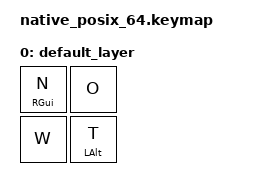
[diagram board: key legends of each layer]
#include <dt-bindings/zmk/keys.h>
#include <behaviors.dtsi>
#include <dt-bindings/zmk/kscan_mock.h>

/* Proposed Gactyl home-row-mod settings: balanced, 200 ms term, 150 ms prior-idle, quick-tap off,
   positional (opposite-hand) triggers, press-based (no hold-trigger-on-release), plus the
   same-hand-tap-after-term extension. pos0 = right mod RGUI/N (triggers 2 3), pos1 = right key O,
   pos2 = left key W, pos3 = left mod LALT/T (triggers 0 1). Expected outputs in
   keycode_events.snapshot are derived by hand from the intended timeline. */
/ {
    behaviors {
        hmr: hrm_hmr {
            compatible = "zmk,behavior-hold-tap";
            #binding-cells = <2>;
            flavor = "balanced";
            tapping-term-ms = <200>;
            quick-tap-ms = <0>;
            require-prior-idle-ms = <150>;
            bindings = <&kp>, <&kp>;
            hold-trigger-key-positions = <2 3>;
            same-hand-tap-after-term;
        };
        hml: hrm_hml {
            compatible = "zmk,behavior-hold-tap";
            #binding-cells = <2>;
            flavor = "balanced";
            tapping-term-ms = <200>;
            quick-tap-ms = <0>;
            require-prior-idle-ms = <150>;
            bindings = <&kp>, <&kp>;
            hold-trigger-key-positions = <0 1>;
            same-hand-tap-after-term;
        };
    };
    keymap {
        compatible = "zmk,keymap";
        default_layer {
            bindings = <
                &hmr RGUI N &kp O
                &kp W &hml LALT T>;
        };
    };
};

&kscan {
    events = <
        /* warm-up tap of a plain key so require-prior-idle starts from idle */
        ZMK_MOCK_PRESS(1,0,10)
        ZMK_MOCK_RELEASE(1,0,500)
        ZMK_MOCK_PRESS(1,1,300)
        ZMK_MOCK_PRESS(0,1,10)
        ZMK_MOCK_PRESS(1,0,10)
        ZMK_MOCK_RELEASE(1,0,10)
        ZMK_MOCK_RELEASE(0,1,10)
        ZMK_MOCK_RELEASE(1,1,10)
    >;
};
